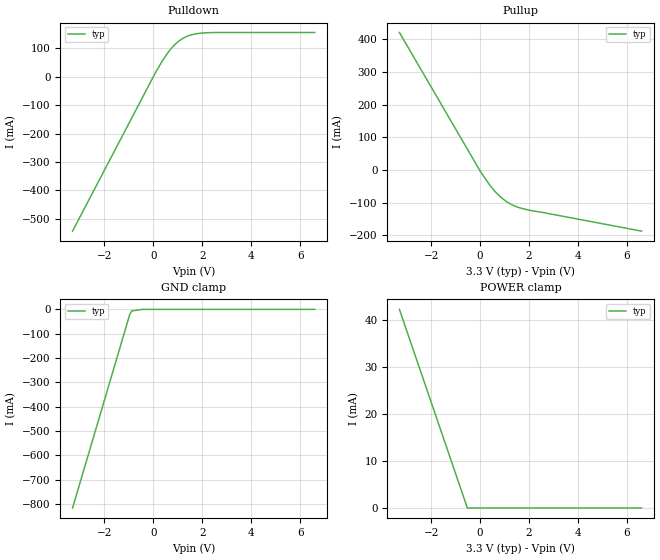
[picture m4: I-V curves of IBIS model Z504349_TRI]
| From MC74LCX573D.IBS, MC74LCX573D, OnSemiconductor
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| (C) COPYRIGHT 1993-2000
| MENTOR GRAPHICS CORPORATION
| ICX STANDARD LIBRARY, ICX PROJECT MODELING,
| ICX CUSTOM MODELING, ICX VENDOR MODEL
| ALL RIGHTS RESERVED.
| THE FOLLOWING ARE TRADEMARKS OR SERVICE MARKS OF
| MENTOR GRAPHICS CORPORATION:ICX (R), ICX STANDARD
| LIBRARY(R), ICX PROJECT MODELING(R), ICX CUSTOM
| MODELING(R), qualityIBIS(TM), MODELVIEWER(TM),
| AND MODELEDITOR(TM)
| ALL COPIES OF SOFTWARE, INCLUDING BUT NOT LIMITED TO
| ANY MODIFICATIONS, ENHANCEMENTS OR DERIVATIVE WORKS,
| MUST CONTAIN ALL MENTOR GRAPHICS CORPORATION'S
| NOTICES AND LEGENDS, INCLUDING THOSE EMBEDDED IN
| SOFTWARE AND THOSE AFFIXED TO SOFTWARE MEDIUM
| AND CONTAINER, AS RECEIVED FROM MENTOR GRAPHICS
| CORPORATION.
| Model Application Version 1.89 2/18/99.
[Model] Z504349_TRI
Model_type 3-state
Vref=0.000V
Rref=500.0ohms
Cref=50.00pF
Vmeas=1.500V
C_comp 8.000pF NA NA
| variable typ   min   max
[Voltage Range] 3.300V NA NA
[POWER Clamp Reference] 3.300V NA NA
[Pullup Reference] 3.300V NA NA
[Pulldown Reference] 0.000V NA NA
[GND Clamp Reference] 0.000V NA NA
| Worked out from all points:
|   slope of the pulldown table from 0 to 0.495 V, typ, clamps not added: 6.87 ohm
|   slope of the pullup table from 0 to 0.495 V, typ, clamps not added: 9.45 ohm
[GND Clamp]
-3.3V     -816.9mA   NA         NA
-958.3mV  -19.65mA   NA         NA
-883.8mV  -6.342mA   NA         NA
-441.9mV  0A         NA         NA
6.6V      0A         NA         NA
[Pulldown]
-3.3V     -544.4mA   NA         NA
89.3mV    14.93mA    NA         NA
367.5mV   56.02mA    NA         NA
628.3mV   89.17mA    NA         NA
1.01V     124mA      NA         NA
1.407V    144.1mA    NA         NA
2.014V    154.6mA    NA         NA
6.6V      156.4mA    NA         NA
[Pullup]
-3.3V     421mA      NA         NA
14mV      -5.001mA   NA         NA
388mV     -45.78mA   NA         NA
586mV     -63.96mA   NA         NA
903mV     -86.91mA   NA         NA
1.246V    -104.3mA   NA         NA
1.747V    -118.4mA   NA         NA
6.6V      -187mA     NA         NA
[POWER Clamp]
-3.3V     42.21mA    NA         NA
-523mV    0A         NA         NA
6.6V      0A         NA         NA
[Ramp]
| variable typ min max
dV/dt_r 1.964/393.7p NA NA
dV/dt_f 1.964/1.213n NA NA
R_load = 500.0Ohms
